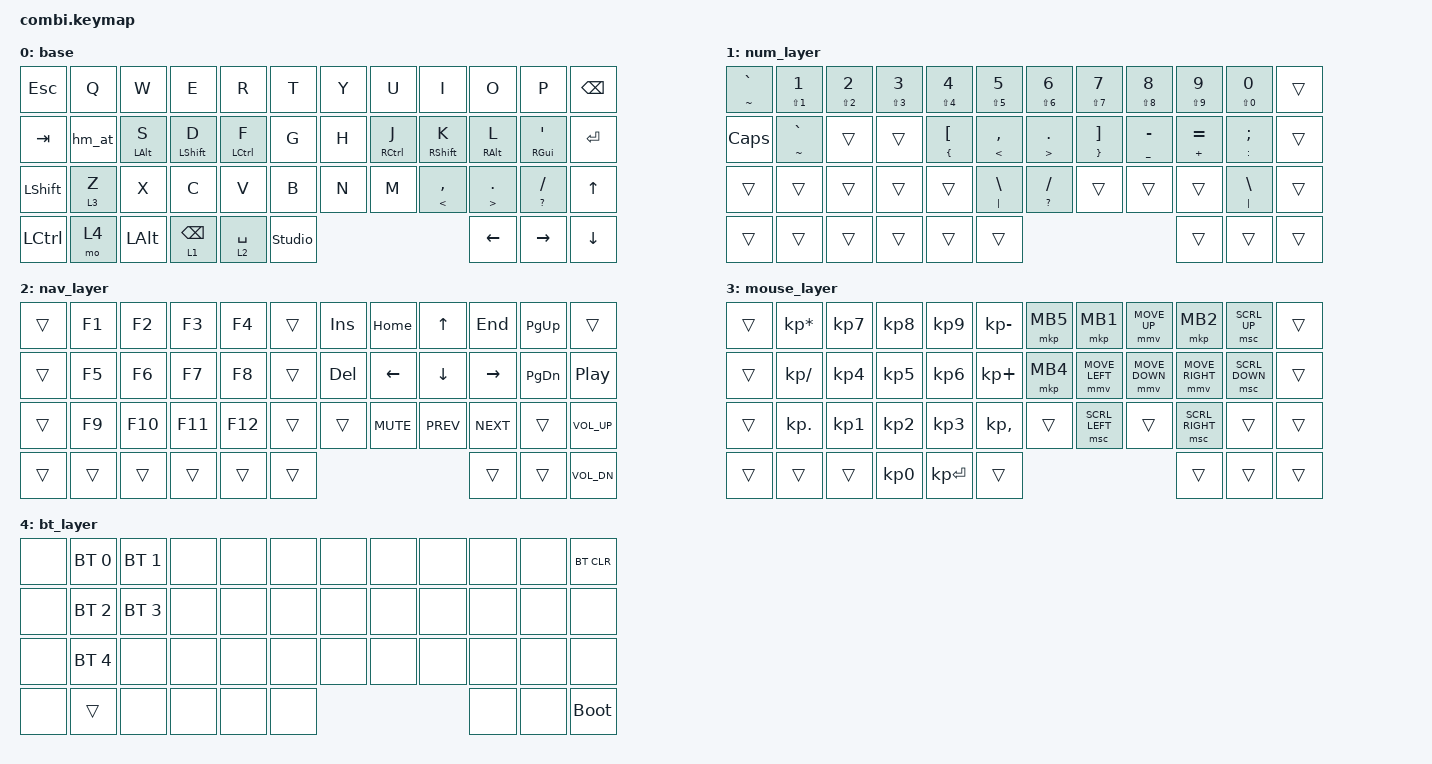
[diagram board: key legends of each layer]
#include <behaviors.dtsi>
#include <dt-bindings/zmk/keys.h>
#include <dt-bindings/zmk/bt.h>
#include <dt-bindings/zmk/outputs.h>

#define ZMK_POINTING_DEFAULT_MOVE_VAL 1500  // default: 600
#define ZMK_POINTING_DEFAULT_SCRL_VAL 20    // default: 10
#include <dt-bindings/zmk/pointing.h>

/ {
    combos {
        compatible = "zmk,combos";
        combo_bksp {
            timeout-ms = <50>;
            key-positions = <19 20>;
            bindings = <&kp BSPC>;
            layers = <0>;
        };
        combo_word_bksp {
            timeout-ms = <50>;
            key-positions = <19 20 21>;
            bindings = <&kp LC(BSPC)>;
            layers = <0>;
        };
        combo_enter {
            timeout-ms = <50>;
            key-positions = <15 16>;
            bindings = <&kp ENTER>;
            layers = <0>;
        };
        combo_tab {
            timeout-ms = <50>;
            key-positions = <14 15>;
            bindings = <&kp TAB>;
            layers = <0>;
        };
        combo_del {
            timeout-ms = <50>;
            key-positions = <21 22>;
            bindings = <&kp DEL>;
            layers = <0>;
        };
        combo_esc {
            timeout-ms = <50>;
            key-positions = <1 13>;
            bindings = <&kp ESC>;
            layers = <0>;
        };
    };
};

/ {

    behaviors {
        hm: homerow_mods {
            compatible = "zmk,behavior-hold-tap";
            display-name = "Homerow Mods";
            bindings = <&kp>, <&kp>;

            #binding-cells = <2>;
            tapping-term-ms = <200>;
            quick-tap-ms = <180>;
            require-prior-idle-ms = <0>;
            flavor = "tap-preferred";
        };

        hm_at: alt_tab {
            compatible = "zmk,behavior-mod-morph";
            #binding-cells = <0>;
            bindings = <&hm LGUI A>, <&kp TAB>;
            mods = <(MOD_LALT)>;
            keep-mods = <(MOD_LALT)>;
        };

        as: autoshift {
            compatible = "zmk,behavior-hold-tap";
            display-name = "Autoshift";
            bindings = <&kp>, <&kp>;

            #binding-cells = <2>;
            tapping-term-ms = <180>;
            quick-tap-ms = <0>;
            flavor = "balanced";
        };
    };


    keymap {
        compatible = "zmk,keymap";

        base {

            bindings = <
            
            &kp ESC         &kp Q       &kp W       &kp E       &kp R       &kp T       &kp Y       &kp U       &kp I        &kp O       &kp P           &kp BSPC
            &kp TAB         &hm_at      &hm LALT S  &hm LSHFT D &hm LCTRL F &kp G       &kp H       &hm RCTRL J &hm RSHFT K  &hm RALT L  &hm RGUI APOS   &kp RET
            &kp LSHFT       &lt 3 Z     &kp X       &kp C       &kp V       &kp B       &kp N       &kp M       &as LT COMMA &as GT DOT  &as QMARK SLASH &kp UP
            &kp LCTRL       &mo 4       &kp LALT    &lt 1 BSPC  &lt 2 SPACE &studio_unlock                                   &kp LEFT    &kp RIGHT       &kp DOWN
            
            >; 
        };

        num_layer {

            bindings = <
            
            &as TILDE GRAVE &as LS(N1) N1   &as LS(N2) N2 &as LS(N3) N3 &as LS(N4) N4 &as LS(N5) N5 &as LS(N6) N6   &as LS(N7) N7 &as LS(N8) N8   &as LS(N9) N9  &as LS(N0) N0   &trans
            &kp CAPS        &as TILDE GRAVE &trans        &trans        &as LBRC LBKT &as LT COMMA  &as GT DOT      &as RBRC RBKT &as UNDER MINUS &as PLUS EQUAL &as COLON SEMI  &trans
            &trans          &trans          &trans        &trans        &trans        &as PIPE BSLH &as QMARK SLASH &trans        &trans          &trans         &as PIPE BSLH   &trans
            &trans          &trans          &trans        &trans        &trans        &trans                                                      &trans         &trans          &trans
            
            >; 
        };

        nav_layer {

            bindings = <

            &trans      &kp F1      &kp F2      &kp F3      &kp F4      &trans      &kp INS      &kp HOME      &kp UP      &kp END      &kp PG_UP   &trans 
            &trans      &kp F5      &kp F6      &kp F7      &kp F8      &trans      &kp DEL      &kp LEFT      &kp DOWN    &kp RIGHT    &kp PG_DN   &kp C_PP
            &trans      &kp F9      &kp F10     &kp F11     &kp F12     &trans      &trans       &kp C_MUTE    &kp C_PREV  &kp C_NEXT   &trans      &kp C_VOL_UP 
            &trans      &trans      &trans      &trans      &trans      &trans                                             &trans       &trans      &kp C_VOL_DN

            >;
        };

        mouse_layer {

            bindings = <

            &trans      &kp KP_ASTERISK &kp KP_N7      &kp KP_N8      &kp KP_N9      &kp KP_MINUS  &mkp MB5   &mkp MB1       &mmv MOVE_UP    &mkp MB2        &msc SCRL_UP   &trans
            &trans      &kp KP_SLASH    &kp KP_N4      &kp KP_N5      &kp KP_N6      &kp KP_PLUS   &mkp MB4   &mmv MOVE_LEFT &mmv MOVE_DOWN  &mmv MOVE_RIGHT &msc SCRL_DOWN &trans
            &trans      &kp KP_DOT      &kp KP_N1      &kp KP_N2      &kp KP_N3      &kp KP_COMMA  &trans     &msc SCRL_LEFT &trans          &msc SCRL_RIGHT &trans         &trans
            &trans      &trans          &trans         &kp KP_N0      &kp KP_ENTER   &trans                                                  &trans          &trans         &trans

            >;
        };

        bt_layer {
            
            bindings = <

            &none    &bt BT_SEL 0    &bt BT_SEL 1     &none     &none     &none     &none     &none     &none     &none     &none     &bt BT_CLR
            &none    &bt BT_SEL 2    &bt BT_SEL 3     &none     &none     &none     &none     &none     &none     &none     &none     &none 
            &none    &bt BT_SEL 4    &none            &none     &none     &none     &none     &none     &none     &none     &none     &none
            &none    &trans          &none            &none     &none     &none                                   &none     &none     &bootloader

            >;
        };
    };
};
